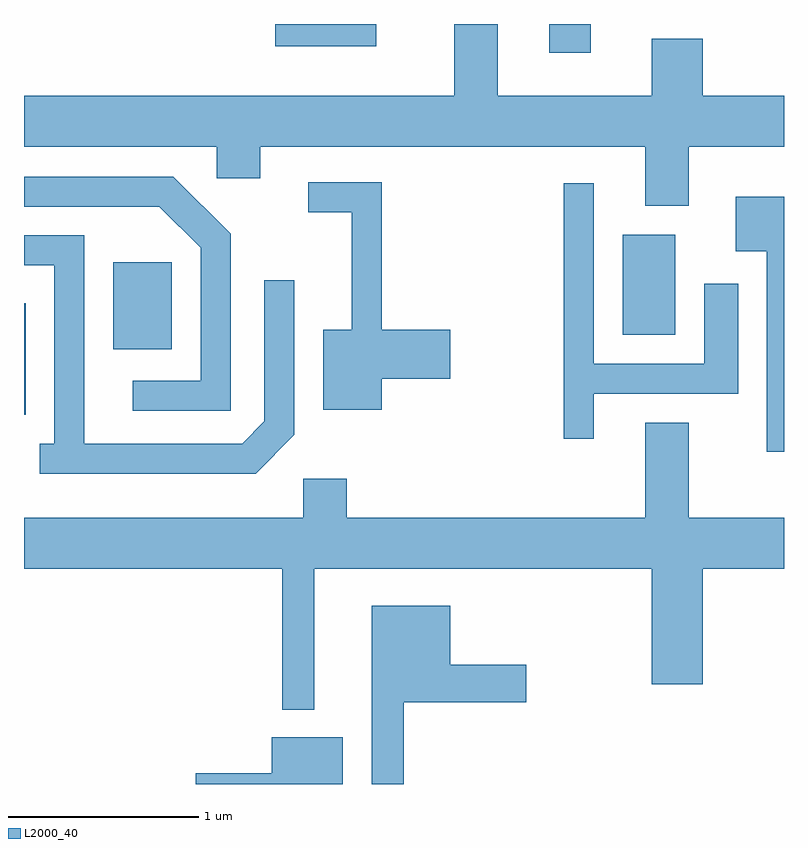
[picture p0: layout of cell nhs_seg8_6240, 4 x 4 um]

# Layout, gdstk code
import gdstk
lib = gdstk.Library(unit=1e-6, precision=1e-09)
def R(c, l, rs):  # rectangles x0, y0, x1, y1
    for r in rs: c.add(gdstk.rectangle(r[:2], r[2:], *l))
def P(c, l, *ps):  # polygons
    for p in ps: c.add(gdstk.Polygon(p, *l))
L2000_40 = (2000, 40)

nhs_seg8_6240 = lib.new_cell('nhs_seg8_6240')
R(nhs_seg8_6240, L2000_40, [(371.611,1888.286,371.619,1888.873), (372.081,1888.631,372.389,1889.089), (374.761,1888.706,375.039,1889.234), (374.376,1890.191,374.594,1890.342), (372.933,1890.226,373.464,1890.342)])
P(nhs_seg8_6240, L2000_40, [(375.109,1889.696),(375.611,1889.696),(375.611,1889.964),(375.184,1889.964),(375.184,1890.264),(374.916,1890.264),(374.916,1889.964),(374.104,1889.964),(374.104,1890.342),(373.876,1890.342),(373.876,1889.964),(371.611,1889.964),(371.611,1889.696),(372.626,1889.696),(372.626,1889.531),(372.854,1889.531),(372.854,1889.696),(374.881,1889.696),(374.881,1889.386),(375.109,1889.386)],
  [(372.699,1889.237),(372.397,1889.539),(371.611,1889.539),(371.611,1889.381),(372.324,1889.381),(372.541,1889.164),(372.541,1888.464),(372.183,1888.464),(372.183,1888.306),(372.699,1888.306)],
  [(373.494,1888.476),(373.854,1888.476),(373.854,1888.734),(373.494,1888.734),(373.494,1889.509),(373.108,1889.509),(373.108,1889.351),(373.336,1889.351),(373.336,1888.734),(373.186,1888.734),(373.186,1888.311),(373.494,1888.311)],
  [(374.609,1888.396),(375.369,1888.396),(375.369,1888.974),(375.191,1888.974),(375.191,1888.554),(374.609,1888.554),(374.609,1889.503),(374.451,1889.503),(374.451,1888.158),(374.609,1888.158)],
  [(375.611,1889.434),(375.356,1889.434),(375.356,1889.146),(375.521,1889.146),(375.521,1888.091),(375.611,1888.091)],
  [(373.034,1888.179),(373.034,1888.993),(372.876,1888.993),(372.876,1888.252),(372.759,1888.134),(371.929,1888.134),(371.929,1889.229),(371.611,1889.229),(371.611,1889.071),(371.771,1889.071),(371.771,1888.134),(371.693,1888.134),(371.693,1887.976),(372.832,1887.976)],
  [(373.139,1887.476),(374.916,1887.476),(374.916,1886.866),(375.184,1886.866),(375.184,1887.476),(375.611,1887.476),(375.611,1887.744),(375.109,1887.744),(375.109,1888.244),(374.881,1888.244),(374.881,1887.744),(373.309,1887.744),(373.309,1887.949),(373.081,1887.949),(373.081,1887.744),(371.611,1887.744),(371.611,1887.476),(372.971,1887.476),(372.971,1886.733),(373.139,1886.733)],
  [(373.609,1886.771),(374.254,1886.771),(374.254,1886.969),(373.854,1886.969),(373.854,1887.279),(373.441,1887.279),(373.441,1886.342),(373.609,1886.342)],
  [(373.289,1886.589),(372.916,1886.589),(372.916,1886.399),(372.516,1886.399),(372.516,1886.342),(373.289,1886.342)])

lib.write_gds('nhs_seg8_6240.gds')
